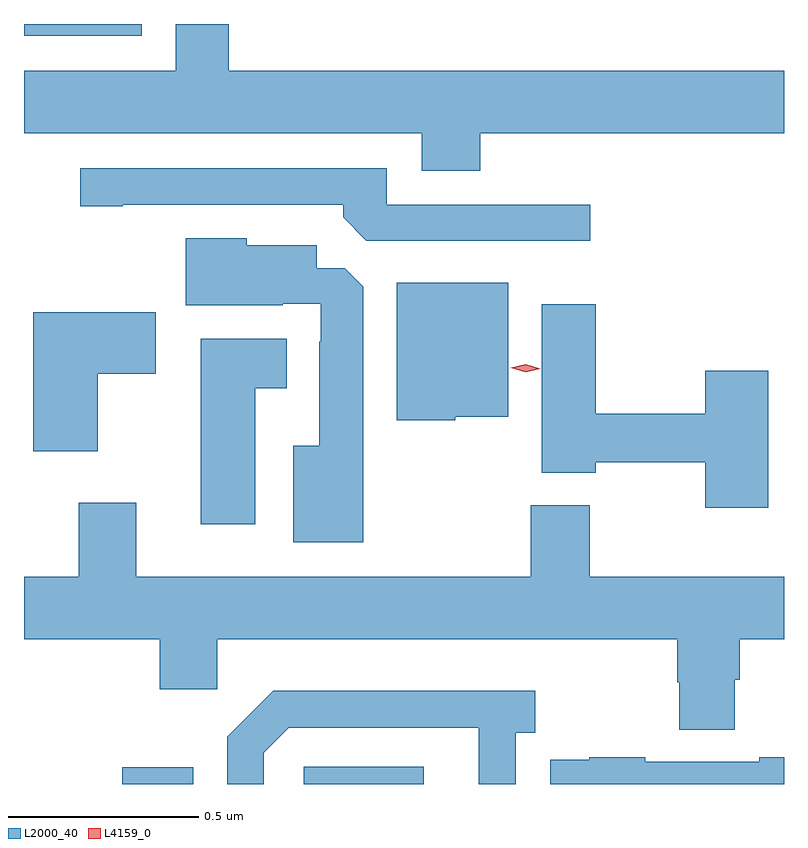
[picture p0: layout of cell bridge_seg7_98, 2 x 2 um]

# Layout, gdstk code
import gdstk
lib = gdstk.Library(unit=1e-6, precision=1e-09)
def R(c, l, rs):  # rectangles x0, y0, x1, y1
    for r in rs: c.add(gdstk.rectangle(r[:2], r[2:], *l))
def P(c, l, *ps):  # polygons
    for p in ps: c.add(gdstk.Polygon(p, *l))
L2000_40 = (2000, 40)
L4159_0 = (4159, 0)

bridge_seg7_98 = lib.new_cell('bridge_seg7_98')
R(bridge_seg7_98, L2000_40, [(1090.43,1017.551,1090.618,1017.595), (1090.908,1017.551,1091.224,1017.597), (1090.172,1019.52,1090.482,1019.551)])
P(bridge_seg7_98, L2000_40, [(1091.372,1019.264),(1092.172,1019.264),(1092.172,1019.428),(1090.711,1019.428),(1090.711,1019.551),(1090.571,1019.551),(1090.571,1019.428),(1090.172,1019.428),(1090.172,1019.264),(1091.219,1019.264),(1091.219,1019.165),(1091.372,1019.165)],
  [(1091.662,1019.076),(1091.127,1019.076),(1091.127,1019.172),(1090.32,1019.172),(1090.32,1019.071),(1090.432,1019.071),(1090.432,1019.076),(1091.012,1019.076),(1091.012,1019.042),(1091.073,1018.98),(1091.662,1018.98)],
  [(1091.065,1018.859),(1091.016,1018.908),(1090.942,1018.908),(1090.942,1018.969),(1090.758,1018.969),(1090.758,1018.987),(1090.598,1018.987),(1090.598,1018.811),(1090.853,1018.811),(1090.853,1018.815),(1090.953,1018.815),(1090.953,1018.715),(1090.949,1018.715),(1090.949,1018.441),(1090.88,1018.441),(1090.88,1018.187),(1091.065,1018.187)],
  [(1091.307,1018.517),(1091.446,1018.517),(1091.446,1018.87),(1091.153,1018.87),(1091.153,1018.508),(1091.307,1018.508)],
  [(1092.13,1018.639),(1091.965,1018.639),(1091.965,1018.526),(1091.676,1018.526),(1091.676,1018.813),(1091.534,1018.813),(1091.534,1018.37),(1091.676,1018.37),(1091.676,1018.398),(1091.965,1018.398),(1091.965,1018.278),(1092.13,1018.278)],
  [(1090.366,1018.63),(1090.519,1018.63),(1090.519,1018.792),(1090.196,1018.792),(1090.196,1018.427),(1090.366,1018.427)],
  [(1090.78,1018.592),(1090.864,1018.592),(1090.864,1018.723),(1090.637,1018.723),(1090.637,1018.235),(1090.78,1018.235)],
  [(1092.043,1017.826),(1092.056,1017.826),(1092.056,1017.932),(1092.172,1017.932),(1092.172,1018.096),(1091.661,1018.096),(1091.661,1018.285),(1091.506,1018.285),(1091.506,1018.096),(1090.468,1018.096),(1090.468,1018.291),(1090.316,1018.291),(1090.316,1018.096),(1090.172,1018.096),(1090.172,1017.932),(1090.529,1017.932),(1090.529,1017.801),(1090.68,1017.801),(1090.68,1017.932),(1091.891,1017.932),(1091.891,1017.819),(1091.896,1017.819),(1091.896,1017.694),(1092.043,1017.694)],
  [(1090.803,1017.633),(1090.869,1017.699),(1091.369,1017.699),(1091.369,1017.551),(1091.466,1017.551),(1091.466,1017.686),(1091.518,1017.686),(1091.518,1017.796),(1090.828,1017.796),(1090.707,1017.675),(1090.707,1017.551),(1090.803,1017.551)],
  [(1092.172,1017.622),(1092.107,1017.622),(1092.107,1017.609),(1091.807,1017.609),(1091.807,1017.622),(1091.659,1017.622),(1091.659,1017.615),(1091.557,1017.615),(1091.557,1017.551),(1092.172,1017.551)])
P(bridge_seg7_98, L4159_0, [(1091.492,1018.635),(1091.453,1018.646),(1091.453,1018.646),(1091.453,1018.646),(1091.492,1018.655),(1091.531,1018.644),(1091.531,1018.644),(1091.531,1018.644)])

lib.write_gds('bridge_seg7_98.gds')
